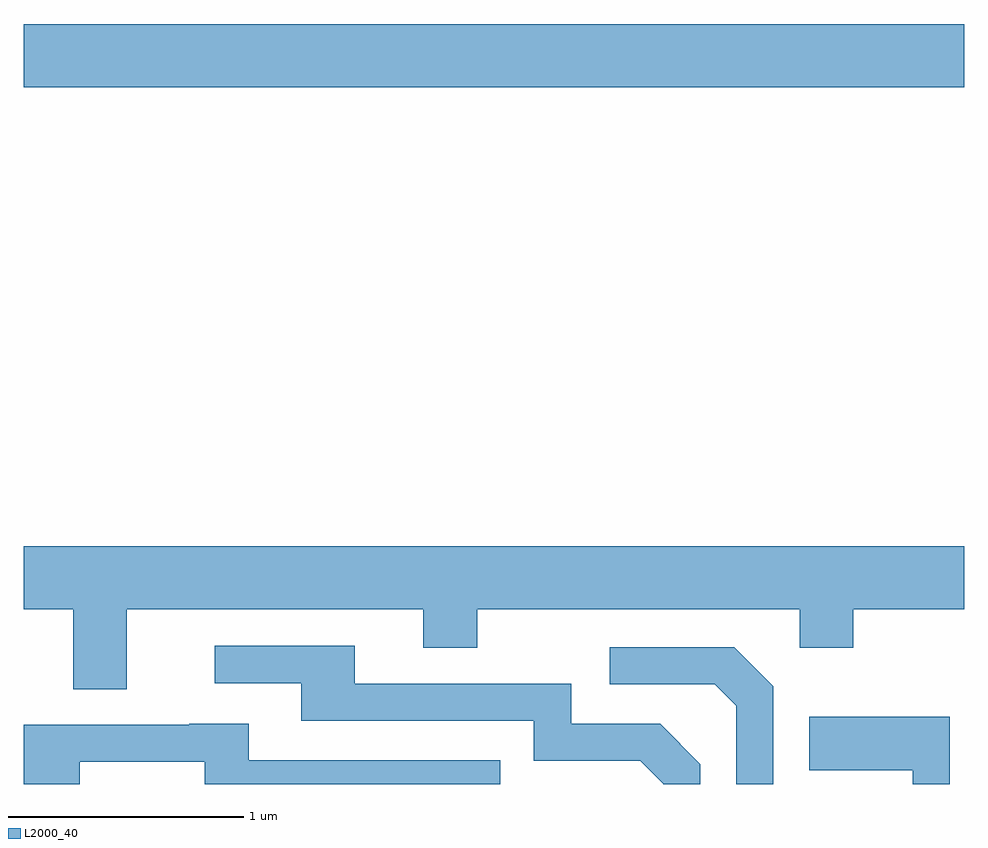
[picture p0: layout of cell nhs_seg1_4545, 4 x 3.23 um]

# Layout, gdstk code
import gdstk
lib = gdstk.Library(unit=1e-6, precision=1e-09)
def R(c, l, rs):  # rectangles x0, y0, x1, y1
    for r in rs: c.add(gdstk.rectangle(r[:2], r[2:], *l))
def P(c, l, *ps):  # polygons
    for p in ps: c.add(gdstk.Polygon(p, *l))
L2000_40 = (2000, 40)

nhs_seg1_4545 = lib.new_cell('nhs_seg1_4545')
R(nhs_seg1_4545, L2000_40, [(321.611,910.676,325.611,910.944)])
P(nhs_seg1_4545, L2000_40, [(322.049,908.456),(323.311,908.456),(323.311,908.291),(323.539,908.291),(323.539,908.456),(324.911,908.456),(324.911,908.291),(325.139,908.291),(325.139,908.456),(325.611,908.456),(325.611,908.724),(321.611,908.724),(321.611,908.456),(321.821,908.456),(321.821,908.116),(322.049,908.116)],
  [(324.489,907.797),(324.317,907.969),(323.939,907.969),(323.939,908.139),(323.019,908.139),(323.019,908.299),(322.423,908.299),(322.423,908.141),(322.791,908.141),(322.791,907.981),(323.781,907.981),(323.781,907.811),(324.234,907.811),(324.331,907.714),(324.331,907.712),(324.489,907.712)],
  [(324.799,908.127),(324.632,908.294),(324.103,908.294),(324.103,908.136),(324.549,908.136),(324.641,908.044),(324.641,907.712),(324.799,907.712)],
  [(325.549,907.999),(324.951,907.999),(324.951,907.771),(325.391,907.771),(325.391,907.712),(325.549,907.712)],
  [(321.849,907.806),(322.381,907.806),(322.381,907.712),(323.638,907.712),(323.638,907.814),(322.569,907.814),(322.569,907.969),(322.315,907.969),(322.315,907.964),(321.611,907.964),(321.611,907.712),(321.849,907.712)])

lib.write_gds('nhs_seg1_4545.gds')
